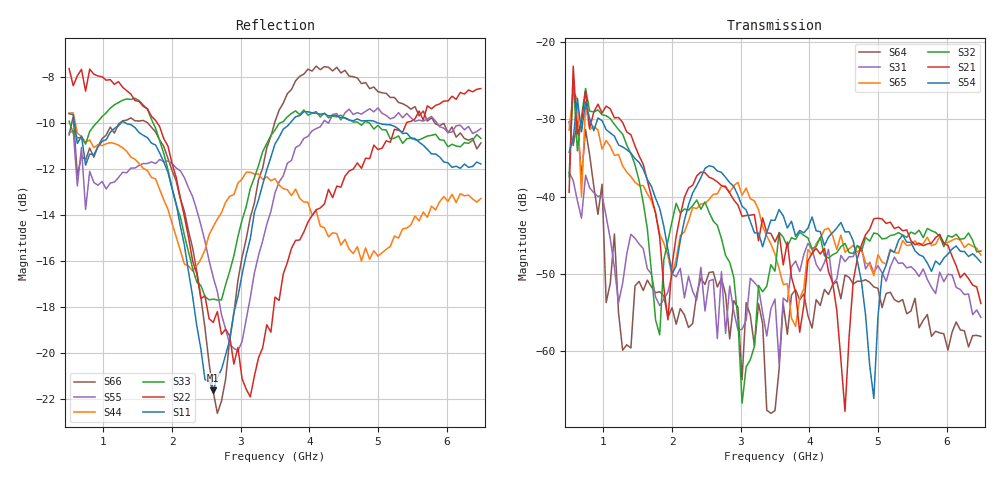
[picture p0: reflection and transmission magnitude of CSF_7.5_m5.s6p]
!Keysight Technologies,M9804A,MY58100912,A.14.10.03
!Date: Thursday, April 27, 2023 10:28:33
!Correction: S11(C  6-Port  )
!S12(C  6-Port  )
!S13(C  6-Port  )
!S14(C  6-Port  )
!S15(C  6-Port  )
!S16(C  6-Port  )
!S21(C  6-Port  )
!S22(C  6-Port  )
!S23(C  6-Port  )
!S24(C  6-Port  )
!S25(C  6-Port  )
!S26(C  6-Port  )
!S31(C  6-Port  )
!S32(C  6-Port  )
!S33(C  6-Port  )
!S34(C  6-Port  )
!S35(C  6-Port  )
!S36(C  6-Port  )
!S41(C  6-Port  )
!S42(C  6-Port  )
!S43(C  6-Port  )
!S44(C  6-Port  )
!S45(C  6-Port  )
!S46(C  6-Port  )
!S51(C  6-Port  )
!S52(C  6-Port  )
!S53(C  6-Port  )
!S54(C  6-Port  )
!S55(C  6-Port  )
!S56(C  6-Port  )
!S61(C  6-Port  )
!S62(C  6-Port  )
!S63(C  6-Port  )
!S64(C  6-Port  )
!S65(C  6-Port  )
!S66(C  6-Port  )
!S6P File: Measurement: :
# Hz S  RI  R 50
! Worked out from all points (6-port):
!   101 points, 500 MHz to 6.5 GHz, reference 50 ohm
!   strongest paths, dB at 500 MHz, 2 GHz, 3.5 GHz, 5 GHz, 6.5 GHz:
!     S54: -34.2, -50.0, -43.0, -55.6, -48.5
!     S21: -39.4, -48.9, -45.8, -42.8, -53.8
!     S32: -37.4, -43.2, -49.6, -44.8, -47.0
!     S65: -31.4, -50.2, -47.4, -47.5, -47.5
!     S31: -36.8, -50.0, -53.3, -48.9, -55.6
!     S64: -30.3, -54.4, -67.7, -51.9, -58.1
!   lowest |S11| = -21.6 dB at 2.6 GHz (marker M1), VSWR 1.18, Z = 42.6 + j2.12 ohm
!   |S11| at or under -10 dB: 577.8 MHz to 1.254 GHz (676.5 MHz wide, 73.9 % of centre); 1.326 GHz to 3.717 GHz (2.392 GHz wide, 94.9 % of centre); 5.009 GHz to end of sweep
